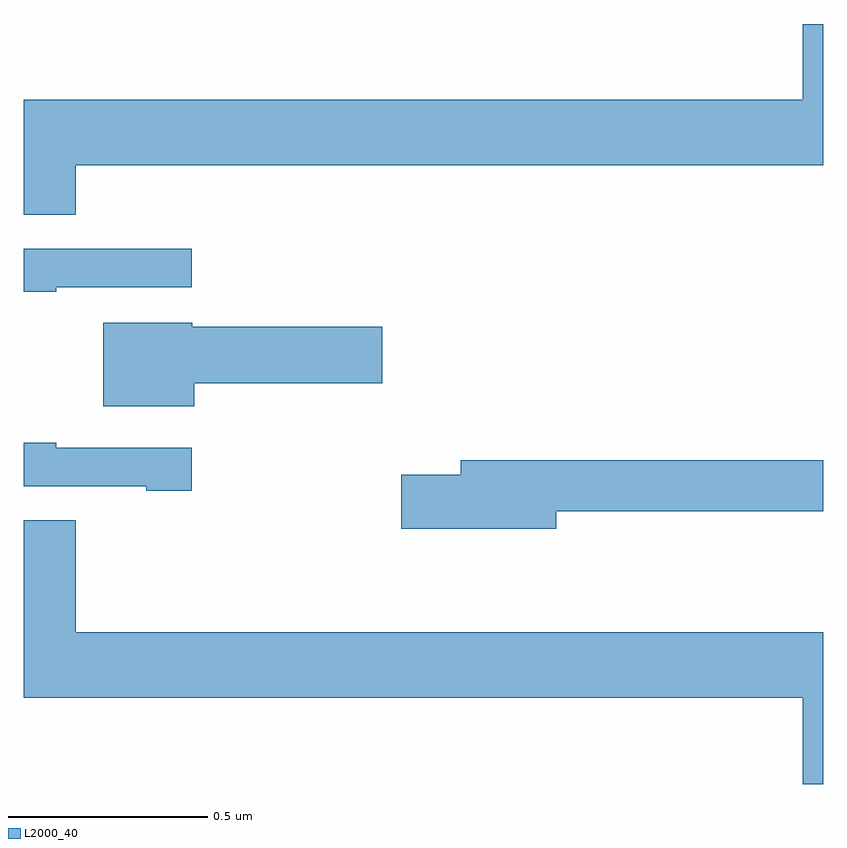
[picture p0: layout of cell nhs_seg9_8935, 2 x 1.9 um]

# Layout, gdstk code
import gdstk
lib = gdstk.Library(unit=1e-6, precision=1e-09)
def P(c, l, *ps):  # polygons
    for p in ps: c.add(gdstk.Polygon(p, *l))
L2000_40 = (2000, 40)

nhs_seg9_8935 = lib.new_cell('nhs_seg9_8935')
P(nhs_seg9_8935, L2000_40, [(223.13,1235.048),(225,1235.048),(225,1235.401),(224.948,1235.401),(224.948,1235.212),(223,1235.212),(223,1234.924),(223.13,1234.924)],
  [(223.081,1234.743),(223.42,1234.743),(223.42,1234.839),(223,1234.839),(223,1234.731),(223.081,1234.731)],
  [(223.426,1234.502),(223.897,1234.502),(223.897,1234.644),(223.422,1234.644),(223.422,1234.654),(223.199,1234.654),(223.199,1234.445),(223.426,1234.445)],
  [(223.42,1234.341),(223.081,1234.341),(223.081,1234.354),(223,1234.354),(223,1234.245),(223.307,1234.245),(223.307,1234.233),(223.42,1234.233)],
  [(224.332,1234.182),(225,1234.182),(225,1234.31),(224.093,1234.31),(224.093,1234.274),(223.944,1234.274),(223.944,1234.139),(224.332,1234.139)],
  [(225,1233.88),(223.13,1233.88),(223.13,1234.16),(223,1234.16),(223,1233.716),(224.948,1233.716),(224.948,1233.5),(225,1233.5)])

lib.write_gds('nhs_seg9_8935.gds')
